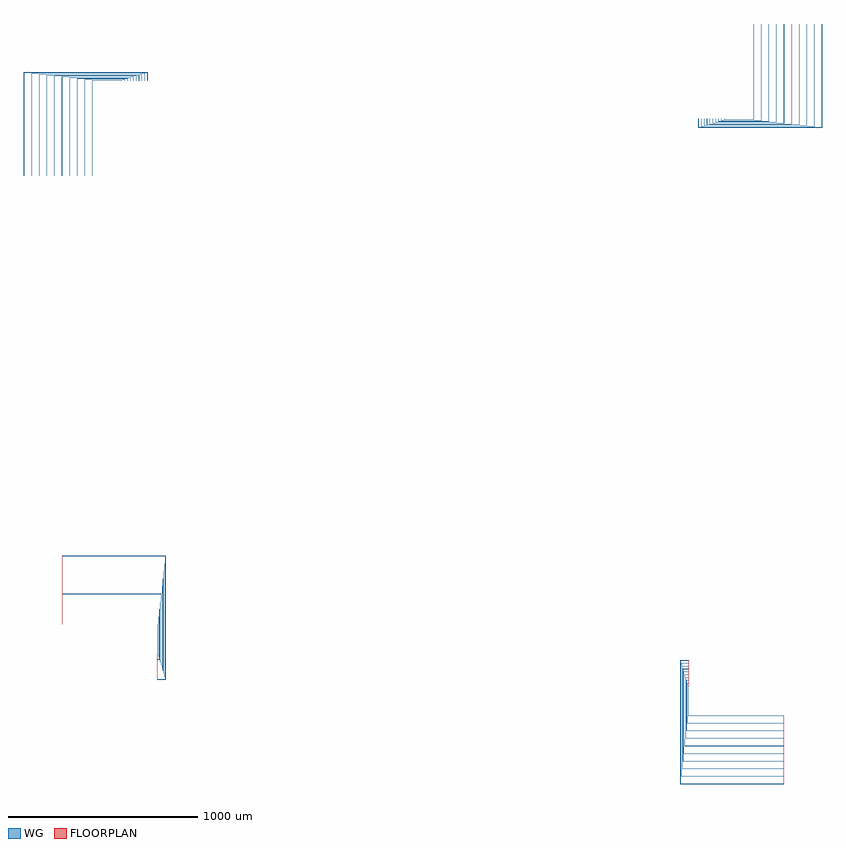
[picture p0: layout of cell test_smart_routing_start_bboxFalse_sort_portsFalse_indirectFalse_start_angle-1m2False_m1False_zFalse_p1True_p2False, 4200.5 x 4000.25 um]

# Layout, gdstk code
import gdstk
lib = gdstk.Library(unit=1e-6, precision=1e-09)
def P(c, l, *ps):  # polygons
    for p in ps: c.add(gdstk.Polygon(p, *l))
WG = (1, 0)
FLOORPLAN = (10, 0)

test_smart_routing_start = lib.new_cell('test_smart_routing_start_bboxFalse_sort_portsFalse_indirectFalse_start_angle-1m2False_m1False_zFalse_p1True_p2False')
P(test_smart_routing_start, WG, [(100,-49.95),(100,-49.75),(144.5,-49.75),(144.5,599.75),(-400,599.75),(-400,599.95),(144.7,599.95),(144.7,-49.95)],
  [(100,-50.25),(100,-50.05),(144.8,-50.05),(144.8,600.05),(-400,600.05),(-400,600.25),(145,600.25),(145,-50.25)],
  [(100,-34.95),(100,-34.75),(140,-34.75),(140,559.75),(-400,559.75),(-400,559.95),(140.2,559.95),(140.2,-34.95)],
  [(100,-35.25),(100,-35.05),(140.3,-35.05),(140.3,560.05),(-400,560.05),(-400,560.25),(140.5,560.25),(140.5,-35.25)],
  [(100,-19.95),(100,-19.75),(135.5,-19.75),(135.5,519.75),(-400,519.75),(-400,519.95),(135.7,519.95),(135.7,-19.95)],
  [(100,-20.25),(100,-20.05),(135.8,-20.05),(135.8,520.05),(-400,520.05),(-400,520.25),(136,520.25),(136,-20.25)],
  [(100,-4.95),(100,-4.75),(131,-4.75),(131,479.75),(-400,479.75),(-400,479.95),(131.2,479.95),(131.2,-4.95)],
  [(100,-5.25),(100,-5.05),(131.3,-5.05),(131.3,480.05),(-400,480.05),(-400,480.25),(131.5,480.25),(131.5,-5.25)],
  [(100,10.05),(100,10.25),(126.5,10.25),(126.5,439.75),(-400,439.75),(-400,439.95),(126.7,439.95),(126.7,10.05)],
  [(100,9.75),(100,9.95),(126.8,9.95),(126.8,440.05),(-400,440.05),(-400,440.25),(127,440.25),(127,9.75)],
  [(100,25.05),(100,25.25),(122,25.25),(122,399.75),(-400,399.75),(-400,399.95),(122.2,399.95),(122.2,25.05)],
  [(100,24.75),(100,24.95),(122.3,24.95),(122.3,400.05),(-400,400.05),(-400,400.25),(122.5,400.25),(122.5,24.75)],
  [(100,40.05),(100,40.25),(117.5,40.25),(117.5,359.75),(-400,359.75),(-400,359.95),(117.7,359.95),(117.7,40.05)],
  [(100,39.75),(100,39.95),(117.8,39.95),(117.8,360.05),(-400,360.05),(-400,360.25),(118,360.25),(118,39.75)],
  [(100,55.05),(100,55.25),(113,55.25),(113,319.75),(-400,319.75),(-400,319.95),(113.2,319.95),(113.2,55.05)],
  [(100,54.75),(100,54.95),(113.3,54.95),(113.3,320.05),(-400,320.05),(-400,320.25),(113.5,320.25),(113.5,54.75)],
  [(100,70.05),(100,70.25),(108.5,70.25),(108.5,279.75),(-400,279.75),(-400,279.95),(108.7,279.95),(108.7,70.05)],
  [(100,69.75),(100,69.95),(108.8,69.95),(108.8,280.05),(-400,280.05),(-400,280.25),(109,280.25),(109,69.75)],
  [(100,85.05),(100,85.25),(104,85.25),(104,239.75),(-400,239.75),(-400,239.95),(104.2,239.95),(104.2,85.05)],
  [(100,84.75),(100,84.95),(104.3,84.95),(104.3,240.05),(-400,240.05),(-400,240.25),(104.5,240.25),(104.5,84.75)],
  [(-599.95,2600),(-599.95,3144.7),(49.95,3144.7),(49.95,3100),(49.75,3100),(49.75,3144.5),(-599.75,3144.5),(-599.75,2600)],
  [(-600.25,2600),(-600.25,3145),(50.25,3145),(50.25,3100),(50.05,3100),(50.05,3144.8),(-600.05,3144.8),(-600.05,2600)],
  [(-559.95,2600),(-559.95,3140.2),(34.95,3140.2),(34.95,3100),(34.75,3100),(34.75,3140),(-559.75,3140),(-559.75,2600)],
  [(-560.25,2600),(-560.25,3140.5),(35.25,3140.5),(35.25,3100),(35.05,3100),(35.05,3140.3),(-560.05,3140.3),(-560.05,2600)],
  [(-519.95,2600),(-519.95,3135.7),(19.95,3135.7),(19.95,3100),(19.75,3100),(19.75,3135.5),(-519.75,3135.5),(-519.75,2600)],
  [(-520.25,2600),(-520.25,3136),(20.25,3136),(20.25,3100),(20.05,3100),(20.05,3135.8),(-520.05,3135.8),(-520.05,2600)],
  [(-479.95,2600),(-479.95,3131.2),(4.95,3131.2),(4.95,3100),(4.75,3100),(4.75,3131),(-479.75,3131),(-479.75,2600)],
  [(-480.25,2600),(-480.25,3131.5),(5.25,3131.5),(5.25,3100),(5.05,3100),(5.05,3131.3),(-480.05,3131.3),(-480.05,2600)],
  [(-439.95,2600),(-439.95,3126.7),(-10.05,3126.7),(-10.05,3100),(-10.25,3100),(-10.25,3126.5),(-439.75,3126.5),(-439.75,2600)],
  [(-440.25,2600),(-440.25,3127),(-9.75,3127),(-9.75,3100),(-9.95,3100),(-9.95,3126.8),(-440.05,3126.8),(-440.05,2600)],
  [(-399.95,2600),(-399.95,3122.2),(-25.05,3122.2),(-25.05,3100),(-25.25,3100),(-25.25,3122),(-399.75,3122),(-399.75,2600)],
  [(-400.25,2600),(-400.25,3122.5),(-24.75,3122.5),(-24.75,3100),(-24.95,3100),(-24.95,3122.3),(-400.05,3122.3),(-400.05,2600)],
  [(-359.95,2600),(-359.95,3117.7),(-40.05,3117.7),(-40.05,3100),(-40.25,3100),(-40.25,3117.5),(-359.75,3117.5),(-359.75,2600)],
  [(-360.25,2600),(-360.25,3118),(-39.75,3118),(-39.75,3100),(-39.95,3100),(-39.95,3117.8),(-360.05,3117.8),(-360.05,2600)],
  [(-319.95,2600),(-319.95,3113.2),(-55.05,3113.2),(-55.05,3100),(-55.25,3100),(-55.25,3113),(-319.75,3113),(-319.75,2600)],
  [(-320.25,2600),(-320.25,3113.5),(-54.75,3113.5),(-54.75,3100),(-54.95,3100),(-54.95,3113.3),(-320.05,3113.3),(-320.05,2600)],
  [(-279.95,2600),(-279.95,3108.7),(-70.05,3108.7),(-70.05,3100),(-70.25,3100),(-70.25,3108.5),(-279.75,3108.5),(-279.75,2600)],
  [(-280.25,2600),(-280.25,3109),(-69.75,3109),(-69.75,3100),(-69.95,3100),(-69.95,3108.8),(-280.05,3108.8),(-280.05,2600)],
  [(-239.95,2600),(-239.95,3104.2),(-85.05,3104.2),(-85.05,3100),(-85.25,3100),(-85.25,3104),(-239.75,3104),(-239.75,2600)],
  [(-240.25,2600),(-240.25,3104.5),(-84.75,3104.5),(-84.75,3100),(-84.95,3100),(-84.95,3104.3),(-240.05,3104.3),(-240.05,2600)],
  [(2855.3,-599.95),(2855.3,49.95),(2900,49.95),(2900,49.75),(2855.5,49.75),(2855.5,-599.75),(3400,-599.75),(3400,-599.95)],
  [(2855,-600.25),(2855,50.25),(2900,50.25),(2900,50.05),(2855.2,50.05),(2855.2,-600.05),(3400,-600.05),(3400,-600.25)],
  [(2859.8,-559.95),(2859.8,34.95),(2900,34.95),(2900,34.75),(2860,34.75),(2860,-559.75),(3400,-559.75),(3400,-559.95)],
  [(2859.5,-560.25),(2859.5,35.25),(2900,35.25),(2900,35.05),(2859.7,35.05),(2859.7,-560.05),(3400,-560.05),(3400,-560.25)],
  [(2864.3,-519.95),(2864.3,19.95),(2900,19.95),(2900,19.75),(2864.5,19.75),(2864.5,-519.75),(3400,-519.75),(3400,-519.95)],
  [(2864,-520.25),(2864,20.25),(2900,20.25),(2900,20.05),(2864.2,20.05),(2864.2,-520.05),(3400,-520.05),(3400,-520.25)],
  [(2868.8,-479.95),(2868.8,4.95),(2900,4.95),(2900,4.75),(2869,4.75),(2869,-479.75),(3400,-479.75),(3400,-479.95)],
  [(2868.5,-480.25),(2868.5,5.25),(2900,5.25),(2900,5.05),(2868.7,5.05),(2868.7,-480.05),(3400,-480.05),(3400,-480.25)],
  [(2873.3,-439.95),(2873.3,-10.05),(2900,-10.05),(2900,-10.25),(2873.5,-10.25),(2873.5,-439.75),(3400,-439.75),(3400,-439.95)],
  [(2873,-440.25),(2873,-9.75),(2900,-9.75),(2900,-9.95),(2873.2,-9.95),(2873.2,-440.05),(3400,-440.05),(3400,-440.25)],
  [(2877.8,-399.95),(2877.8,-25.05),(2900,-25.05),(2900,-25.25),(2878,-25.25),(2878,-399.75),(3400,-399.75),(3400,-399.95)],
  [(2877.5,-400.25),(2877.5,-24.75),(2900,-24.75),(2900,-24.95),(2877.7,-24.95),(2877.7,-400.05),(3400,-400.05),(3400,-400.25)],
  [(2882.3,-359.95),(2882.3,-40.05),(2900,-40.05),(2900,-40.25),(2882.5,-40.25),(2882.5,-359.75),(3400,-359.75),(3400,-359.95)],
  [(2882,-360.25),(2882,-39.75),(2900,-39.75),(2900,-39.95),(2882.2,-39.95),(2882.2,-360.05),(3400,-360.05),(3400,-360.25)],
  [(2886.8,-319.95),(2886.8,-55.05),(2900,-55.05),(2900,-55.25),(2887,-55.25),(2887,-319.75),(3400,-319.75),(3400,-319.95)],
  [(2886.5,-320.25),(2886.5,-54.75),(2900,-54.75),(2900,-54.95),(2886.7,-54.95),(2886.7,-320.05),(3400,-320.05),(3400,-320.25)],
  [(2891.3,-279.95),(2891.3,-70.05),(2900,-70.05),(2900,-70.25),(2891.5,-70.25),(2891.5,-279.75),(3400,-279.75),(3400,-279.95)],
  [(2891,-280.25),(2891,-69.75),(2900,-69.75),(2900,-69.95),(2891.2,-69.95),(2891.2,-280.05),(3400,-280.05),(3400,-280.25)],
  [(2895.8,-239.95),(2895.8,-85.05),(2900,-85.05),(2900,-85.25),(2896,-85.25),(2896,-239.75),(3400,-239.75),(3400,-239.95)],
  [(2895.5,-240.25),(2895.5,-84.75),(2900,-84.75),(2900,-84.95),(2895.7,-84.95),(2895.7,-240.05),(3400,-240.05),(3400,-240.25)],
  [(2950.05,2855.3),(2950.05,2900),(2950.25,2900),(2950.25,2855.5),(3599.75,2855.5),(3599.75,3400),(3599.95,3400),(3599.95,2855.3)],
  [(2949.75,2855),(2949.75,2900),(2949.95,2900),(2949.95,2855.2),(3600.05,2855.2),(3600.05,3400),(3600.25,3400),(3600.25,2855)],
  [(2965.05,2859.8),(2965.05,2900),(2965.25,2900),(2965.25,2860),(3559.75,2860),(3559.75,3400),(3559.95,3400),(3559.95,2859.8)],
  [(2964.75,2859.5),(2964.75,2900),(2964.95,2900),(2964.95,2859.7),(3560.05,2859.7),(3560.05,3400),(3560.25,3400),(3560.25,2859.5)],
  [(2980.05,2864.3),(2980.05,2900),(2980.25,2900),(2980.25,2864.5),(3519.75,2864.5),(3519.75,3400),(3519.95,3400),(3519.95,2864.3)],
  [(2979.75,2864),(2979.75,2900),(2979.95,2900),(2979.95,2864.2),(3520.05,2864.2),(3520.05,3400),(3520.25,3400),(3520.25,2864)],
  [(2995.05,2868.8),(2995.05,2900),(2995.25,2900),(2995.25,2869),(3479.75,2869),(3479.75,3400),(3479.95,3400),(3479.95,2868.8)],
  [(2994.75,2868.5),(2994.75,2900),(2994.95,2900),(2994.95,2868.7),(3480.05,2868.7),(3480.05,3400),(3480.25,3400),(3480.25,2868.5)],
  [(3010.05,2873.3),(3010.05,2900),(3010.25,2900),(3010.25,2873.5),(3439.75,2873.5),(3439.75,3400),(3439.95,3400),(3439.95,2873.3)],
  [(3009.75,2873),(3009.75,2900),(3009.95,2900),(3009.95,2873.2),(3440.05,2873.2),(3440.05,3400),(3440.25,3400),(3440.25,2873)],
  [(3025.05,2877.8),(3025.05,2900),(3025.25,2900),(3025.25,2878),(3399.75,2878),(3399.75,3400),(3399.95,3400),(3399.95,2877.8)],
  [(3024.75,2877.5),(3024.75,2900),(3024.95,2900),(3024.95,2877.7),(3400.05,2877.7),(3400.05,3400),(3400.25,3400),(3400.25,2877.5)],
  [(3040.05,2882.3),(3040.05,2900),(3040.25,2900),(3040.25,2882.5),(3359.75,2882.5),(3359.75,3400),(3359.95,3400),(3359.95,2882.3)],
  [(3039.75,2882),(3039.75,2900),(3039.95,2900),(3039.95,2882.2),(3360.05,2882.2),(3360.05,3400),(3360.25,3400),(3360.25,2882)],
  [(3055.05,2886.8),(3055.05,2900),(3055.25,2900),(3055.25,2887),(3319.75,2887),(3319.75,3400),(3319.95,3400),(3319.95,2886.8)],
  [(3054.75,2886.5),(3054.75,2900),(3054.95,2900),(3054.95,2886.7),(3320.05,2886.7),(3320.05,3400),(3320.25,3400),(3320.25,2886.5)],
  [(3070.05,2891.3),(3070.05,2900),(3070.25,2900),(3070.25,2891.5),(3279.75,2891.5),(3279.75,3400),(3279.95,3400),(3279.95,2891.3)],
  [(3069.75,2891),(3069.75,2900),(3069.95,2900),(3069.95,2891.2),(3280.05,2891.2),(3280.05,3400),(3280.25,3400),(3280.25,2891)],
  [(3085.05,2895.8),(3085.05,2900),(3085.25,2900),(3085.25,2896),(3239.75,2896),(3239.75,3400),(3239.95,3400),(3239.95,2895.8)],
  [(3084.75,2895.5),(3084.75,2900),(3084.95,2900),(3084.95,2895.7),(3240.05,2895.7),(3240.05,3400),(3240.25,3400),(3240.25,2895.5)])
P(test_smart_routing_start, FLOORPLAN, [(100,-50),(100,85),(100,85),(100,-50)],
  [(-85,3100),(-85,3100),(50,3100),(50,3100)],
  [(2900,-85),(2900,50),(2900,50),(2900,-85)],
  [(2950,2900),(2950,2900),(3085,2900),(3085,2900)],
  [(-400,240),(-400,600),(-400,600),(-400,240)],
  [(-600,2600),(-600,2600),(-240,2600),(-240,2600)],
  [(3400,-600),(3400,-240),(3400,-240),(3400,-600)],
  [(3240,3400),(3240,3400),(3600,3400),(3600,3400)])

lib.write_gds('test_smart_routing_start_bboxFalse_sort_portsFalse_indirectFalse_start_angle-1m2False_m1False_zFalse_p1True_p2False.gds')
